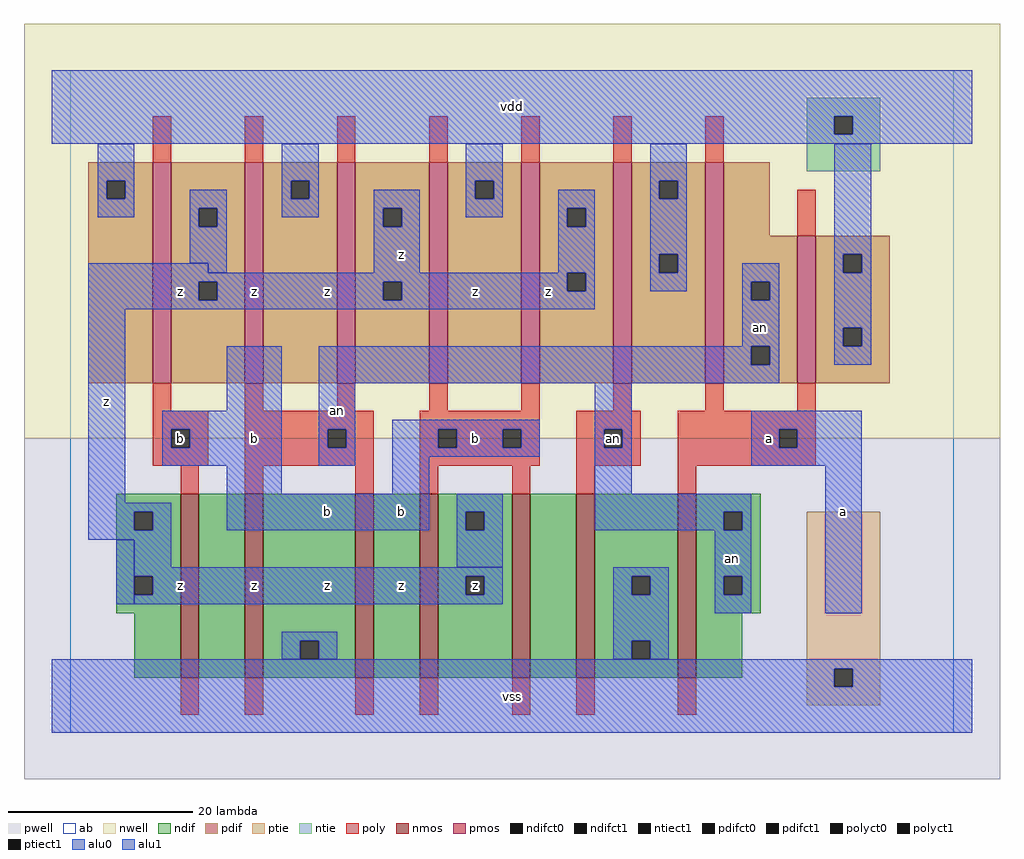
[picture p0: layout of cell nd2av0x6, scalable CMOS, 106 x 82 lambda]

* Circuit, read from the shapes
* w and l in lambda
.subckt nd2av0x6 a an b vdd vss z
M1 n1 b z vss nfet w=20 l=2
M2 vss an n1 vss nfet w=20 l=2
M3 n2 an vss vss nfet w=20 l=2
M4 z b n2 vss nfet w=20 l=2
M5 n3 b z vss nfet w=20 l=2
M6 vss an n3 vss nfet w=20 l=2
M7 an a vss vss nfet w=20 l=2
M8 z b vdd vdd pfet w=24 l=2 m=3
M9 vdd an z vdd pfet w=24 l=2 m=3
M10 an a vdd vdd pfet w=24 l=2
M11 vdd a an vdd pfet w=16 l=2
.ends

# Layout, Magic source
magic
tech scmos
<< ab >>
rect 0 0 96 72
<< nwell >>
rect -5 32 101 77
<< pwell >>
rect -5 -5 101 32
<< poly >>
rect 9 62 11 67
rect 19 62 21 67
rect 29 62 31 67
rect 39 62 41 67
rect 49 62 51 67
rect 59 62 61 67
rect 69 62 71 67
rect 79 54 81 59
rect 9 35 11 38
rect 19 35 21 38
rect 29 35 31 38
rect 39 35 41 38
rect 49 35 51 38
rect 59 35 61 38
rect 69 35 71 38
rect 79 35 81 38
rect 9 33 15 35
rect 9 31 11 33
rect 13 31 15 33
rect 9 29 15 31
rect 19 33 33 35
rect 19 31 28 33
rect 30 31 33 33
rect 19 29 33 31
rect 12 26 14 29
rect 19 26 21 29
rect 31 26 33 29
rect 38 33 51 35
rect 38 31 40 33
rect 42 31 47 33
rect 49 31 51 33
rect 38 29 51 31
rect 55 33 62 35
rect 55 31 58 33
rect 60 31 62 33
rect 55 29 62 31
rect 66 33 81 35
rect 66 31 77 33
rect 79 31 81 33
rect 66 29 81 31
rect 38 26 40 29
rect 48 26 50 29
rect 55 26 57 29
rect 66 26 68 29
rect 12 2 14 6
rect 19 2 21 6
rect 31 2 33 6
rect 38 2 40 6
rect 48 2 50 6
rect 55 2 57 6
rect 66 2 68 6
<< ndif >>
rect 5 24 12 26
rect 5 22 7 24
rect 9 22 12 24
rect 5 17 12 22
rect 5 15 7 17
rect 9 15 12 17
rect 5 13 12 15
rect 7 6 12 13
rect 14 6 19 26
rect 21 10 31 26
rect 21 8 25 10
rect 27 8 31 10
rect 21 6 31 8
rect 33 6 38 26
rect 40 24 48 26
rect 40 22 43 24
rect 45 22 48 24
rect 40 17 48 22
rect 40 15 43 17
rect 45 15 48 17
rect 40 6 48 15
rect 50 6 55 26
rect 57 17 66 26
rect 57 15 61 17
rect 63 15 66 17
rect 57 10 66 15
rect 57 8 61 10
rect 63 8 66 10
rect 57 6 66 8
rect 68 24 75 26
rect 68 22 71 24
rect 73 22 75 24
rect 68 17 75 22
rect 68 15 71 17
rect 73 15 75 17
rect 68 13 75 15
rect 68 6 73 13
<< pdif >>
rect 2 60 9 62
rect 2 58 4 60
rect 6 58 9 60
rect 2 38 9 58
rect 11 57 19 62
rect 11 55 14 57
rect 16 55 19 57
rect 11 49 19 55
rect 11 47 14 49
rect 16 47 19 49
rect 11 38 19 47
rect 21 60 29 62
rect 21 58 24 60
rect 26 58 29 60
rect 21 38 29 58
rect 31 57 39 62
rect 31 55 34 57
rect 36 55 39 57
rect 31 49 39 55
rect 31 47 34 49
rect 36 47 39 49
rect 31 38 39 47
rect 41 60 49 62
rect 41 58 44 60
rect 46 58 49 60
rect 41 38 49 58
rect 51 57 59 62
rect 51 55 54 57
rect 56 55 59 57
rect 51 50 59 55
rect 51 48 54 50
rect 56 48 59 50
rect 51 38 59 48
rect 61 60 69 62
rect 61 58 64 60
rect 66 58 69 60
rect 61 52 69 58
rect 61 50 64 52
rect 66 50 69 52
rect 61 38 69 50
rect 71 54 76 62
rect 71 49 79 54
rect 71 47 74 49
rect 76 47 79 49
rect 71 42 79 47
rect 71 40 74 42
rect 76 40 79 42
rect 71 38 79 40
rect 81 52 89 54
rect 81 50 84 52
rect 86 50 89 52
rect 81 44 89 50
rect 81 42 84 44
rect 86 42 89 44
rect 81 38 89 42
<< alu1 >>
rect -2 67 98 72
rect -2 65 83 67
rect 85 65 98 67
rect -2 64 98 65
rect 33 57 38 59
rect 2 50 15 51
rect 33 55 34 57
rect 36 55 38 57
rect 53 57 57 59
rect 33 50 38 55
rect 53 55 54 57
rect 56 55 57 57
rect 53 50 57 55
rect 2 49 54 50
rect 2 47 14 49
rect 16 47 34 49
rect 36 48 54 49
rect 56 48 57 50
rect 36 47 57 48
rect 2 46 57 47
rect 2 25 6 46
rect 17 35 23 42
rect 10 33 23 35
rect 10 31 11 33
rect 13 31 23 33
rect 10 29 23 31
rect 35 33 51 34
rect 35 31 40 33
rect 42 31 47 33
rect 49 31 51 33
rect 35 30 51 31
rect 17 26 23 29
rect 35 26 39 30
rect 74 33 86 35
rect 74 31 77 33
rect 79 31 86 33
rect 74 29 86 31
rect 2 24 11 25
rect 2 22 7 24
rect 9 22 11 24
rect 17 22 39 26
rect 2 21 11 22
rect 7 18 11 21
rect 7 17 47 18
rect 9 15 43 17
rect 45 15 47 17
rect 7 14 47 15
rect 82 13 86 29
rect -2 7 98 8
rect -2 5 83 7
rect 85 5 98 7
rect -2 0 98 5
<< ptie >>
rect 80 7 88 24
rect 80 5 83 7
rect 85 5 88 7
rect 80 3 88 5
<< ntie >>
rect 80 67 88 69
rect 80 65 83 67
rect 85 65 88 67
rect 80 61 88 65
<< nmos >>
rect 12 6 14 26
rect 19 6 21 26
rect 31 6 33 26
rect 38 6 40 26
rect 48 6 50 26
rect 55 6 57 26
rect 66 6 68 26
<< pmos >>
rect 9 38 11 62
rect 19 38 21 62
rect 29 38 31 62
rect 39 38 41 62
rect 49 38 51 62
rect 59 38 61 62
rect 69 38 71 62
rect 79 38 81 54
<< polyct0 >>
rect 28 31 30 33
rect 58 31 60 33
<< polyct1 >>
rect 11 31 13 33
rect 40 31 42 33
rect 47 31 49 33
rect 77 31 79 33
<< ndifct0 >>
rect 25 8 27 10
rect 43 22 45 24
rect 61 15 63 17
rect 61 8 63 10
rect 71 22 73 24
rect 71 15 73 17
<< ndifct1 >>
rect 7 22 9 24
rect 7 15 9 17
rect 43 15 45 17
<< ntiect1 >>
rect 83 65 85 67
<< ptiect1 >>
rect 83 5 85 7
<< pdifct0 >>
rect 4 58 6 60
rect 14 55 16 57
rect 24 58 26 60
rect 44 58 46 60
rect 64 58 66 60
rect 64 50 66 52
rect 74 47 76 49
rect 74 40 76 42
rect 84 50 86 52
rect 84 42 86 44
<< pdifct1 >>
rect 14 47 16 49
rect 34 55 36 57
rect 34 47 36 49
rect 54 55 56 57
rect 54 48 56 50
<< alu0 >>
rect 3 60 7 64
rect 3 58 4 60
rect 6 58 7 60
rect 23 60 27 64
rect 3 56 7 58
rect 13 57 17 59
rect 13 55 14 57
rect 16 55 17 57
rect 23 58 24 60
rect 26 58 27 60
rect 43 60 47 64
rect 23 56 27 58
rect 13 51 17 55
rect 15 50 17 51
rect 43 58 44 60
rect 46 58 47 60
rect 63 60 67 64
rect 43 56 47 58
rect 63 58 64 60
rect 66 58 67 60
rect 63 52 67 58
rect 63 50 64 52
rect 66 50 67 52
rect 83 52 87 64
rect 63 48 67 50
rect 73 49 77 51
rect 73 47 74 49
rect 76 47 77 49
rect 73 42 77 47
rect 27 40 74 42
rect 76 40 77 42
rect 83 50 84 52
rect 86 50 87 52
rect 83 44 87 50
rect 83 42 84 44
rect 86 42 87 44
rect 83 40 87 42
rect 27 38 77 40
rect 27 33 31 38
rect 27 31 28 33
rect 30 31 31 33
rect 27 29 31 31
rect 57 33 61 38
rect 57 31 58 33
rect 60 31 61 33
rect 57 26 61 31
rect 42 24 47 26
rect 42 22 43 24
rect 45 22 47 24
rect 57 24 74 26
rect 57 22 71 24
rect 73 22 74 24
rect 5 14 7 21
rect 42 18 47 22
rect 59 17 65 18
rect 59 15 61 17
rect 63 15 65 17
rect 23 10 29 11
rect 23 8 25 10
rect 27 8 29 10
rect 59 10 65 15
rect 70 17 74 22
rect 70 15 71 17
rect 73 15 74 17
rect 70 13 74 15
rect 59 8 61 10
rect 63 8 65 10
<< labels >>
rlabel alu0 29 35 29 35 6 an
rlabel polyct0 59 32 59 32 6 an
rlabel alu0 72 19 72 19 6 an
rlabel alu0 75 44 75 44 6 an
rlabel alu1 12 16 12 16 6 z
rlabel alu1 20 16 20 16 6 z
rlabel alu1 20 32 20 32 6 b
rlabel polyct1 12 32 12 32 6 b
rlabel alu1 4 36 4 36 6 z
rlabel alu1 20 48 20 48 6 z
rlabel alu1 12 48 12 48 6 z
rlabel alu1 28 16 28 16 6 z
rlabel ndifct1 44 16 44 16 6 z
rlabel alu1 36 16 36 16 6 z
rlabel alu1 44 32 44 32 6 b
rlabel alu1 36 24 36 24 6 b
rlabel alu1 28 24 28 24 6 b
rlabel alu1 36 52 36 52 6 z
rlabel alu1 44 48 44 48 6 z
rlabel alu1 28 48 28 48 6 z
rlabel alu1 48 4 48 4 6 vss
rlabel alu1 52 48 52 48 6 z
rlabel alu1 48 68 48 68 6 vdd
rlabel alu1 76 32 76 32 6 a
rlabel alu1 84 24 84 24 6 a
<< end >>
